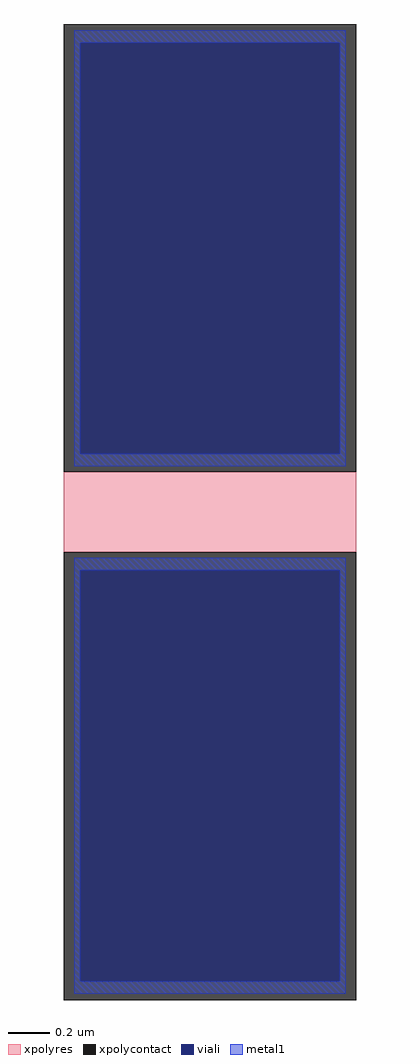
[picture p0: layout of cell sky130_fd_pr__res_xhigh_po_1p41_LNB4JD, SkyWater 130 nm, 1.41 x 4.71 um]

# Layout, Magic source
magic
tech sky130A
magscale 1 2
<< xpolycontact >>
rect -141 39 141 471
rect -141 -471 141 -39
<< xpolyres >>
rect -141 -39 141 39
<< viali >>
rect -125 56 125 453
rect -125 -453 125 -56
<< metal1 >>
rect -131 453 131 465
rect -131 56 -125 453
rect 125 56 131 453
rect -131 44 131 56
rect -131 -56 131 -44
rect -131 -453 -125 -56
rect 125 -453 131 -56
rect -131 -465 131 -453
<< properties >>
string gencell sky130_fd_pr__res_xhigh_po_1p41
string library sky130
string parameters w 1.410 l 0.554 m 1 nx 1 wmin 1.410 lmin 0.50 rho 2000 val 1.052k dummy 0 dw 0.0 term 188.2 sterm 0.0 caplen 0 wmax 1.410 guard 0 glc 1 grc 1 gtc 1 gbc 1 compatible {sky130_fd_pr__res_xhigh_po_0p35  sky130_fd_pr__res_xhigh_po_0p69 sky130_fd_pr__res_xhigh_po_1p41  sky130_fd_pr__res_xhigh_po_2p85 sky130_fd_pr__res_xhigh_po_5p73} snake 0 full_metal 1 n_guard 0 hv_guard 0 vias 1 viagb 0 viagt 0 viagl 0 viagr 0
<< end >>
